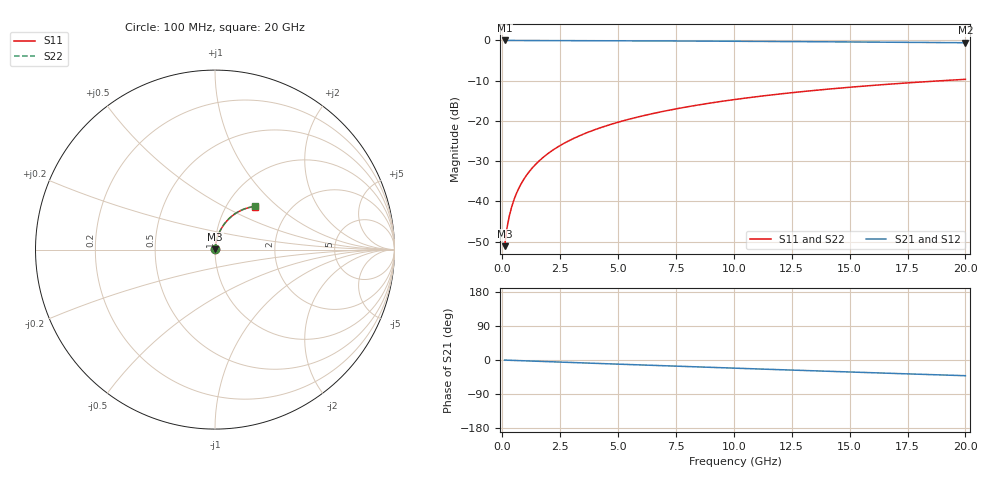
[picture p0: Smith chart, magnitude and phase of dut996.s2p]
! Touchstone file exported from HFSS 2026.1.0
!  File:  C:/ffzhzh/LocalFiles/Ansys_Project_Files/temp_train_BSMRDL_996_1783173009_55132.aedt
!  Generated:  09:51:26 PM Jul  4, 2026
!  Design:  BSMRDL
!  Project:  temp_train_BSMRDL_996_1783173009_55132
! Variables:
!  h_bsmrdl = 5.32um
!  h_ox = 20um
!  h_rdl = 5um
!  h_sub = 80um
!  h_tmrdl = 5um
!  h_tsv = 80um
!  h_via = 3um
!  l_bsmrdl = 631.03um
!  l_sub = 1031.03um
!  l_tmrdl = 200um
!  m_sub = 200um
!  pitch = 54.99um
!  r_tsv = 6um
!  s_tmrdl = 10um
!  w_bsmrdl = 28.67um
!  w_sub = 500um
!  w_tmrdl = 12um
!  x_tsv_center1 = 206um
!  x_tsv_center2 = 865.7um
!  x_tsv_center3 = 1077.7um
!  x_tsv_center4 = 1737.4um
!  x_tsv_center5 = 1949.4um
!  x_tsv_center6 = 2609.1um
# GHz S MA R 50.000000
! Terminal data exported
! Port[1] = BSM_RDL1_1_T1
! Port[2] = BSM_RDL1_1_T2
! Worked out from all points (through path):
!   200 points, 100 MHz to 20 GHz, reference 50 ohm
!   highest |S21| = -0.01 dB at 100 MHz (marker M1); lowest = -0.6 dB at 20 GHz (marker M2)
!   group delay of S21, straight-line fit = 5.75 ps
!   lowest |S11| = -51.1 dB at 100 MHz (marker M3), VSWR 1.01, Z = 50.2 + j0.22 ohm
!   |S11| at or under -10 dB: start of sweep to 19.02 GHz
!   |S22| runs from -51.1 to -9.7 dB; largest |S21 - S12| = 3.3e-15
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0.1  0.002775 52.4  0.9983 -0.2  0.9983 -0.2  0.002775 52.4
! Gamma 0 0 0 0
! Port Impedance 50 0 50 0
0.2  0.004625 66.1  0.9981 -0.5  0.9981 -0.5  0.004625 66.1
0.3  0.006516 72.0  0.998 -0.7  0.998 -0.7  0.006516 72.0
0.4  0.008432 75.4  0.998 -0.9  0.998 -0.9  0.008432 75.4
0.5  0.01037 77.5  0.9979 -1.1  0.9979 -1.1  0.01037 77.5
0.7  0.01428 79.8  0.9978 -1.6  0.9978 -1.6  0.01428 79.8
0.8  0.01625 80.5  0.9977 -1.8  0.9977 -1.8  0.01625 80.5
1  0.02019 81.3  0.9975 -2.2  0.9975 -2.2  0.02019 81.3
1.2  0.02413 81.7  0.9973 -2.7  0.9973 -2.7  0.02413 81.7
1.4  0.02806 81.8  0.9971 -3.1  0.9971 -3.1  0.02806 81.8
1.7  0.03394 81.7  0.9968 -3.8  0.9968 -3.8  0.03394 81.7
2  0.03978 81.4  0.9963 -4.4  0.9963 -4.4  0.03978 81.4
2.7  0.05327 80.4  0.9952 -6.0  0.9952 -6.0  0.05327 80.4
3.5  0.06843 79.0  0.9937 -7.7  0.9937 -7.7  0.06843 79.0
4.2  0.0815 77.6  0.9922 -9.2  0.9922 -9.2  0.08149 77.7
5  0.09622 76.1  0.9904 -10.9  0.9904 -10.9  0.09622 76.1
6.8  0.1286 72.6  0.9858 -14.8  0.9858 -14.8  0.1286 72.6
8.3  0.1549 69.6  0.9815 -17.9  0.9815 -17.9  0.1548 69.7
10.1  0.1853 66.1  0.9756 -21.7  0.9756 -21.7  0.1853 66.2
13.4  0.2379 59.6  0.9633 -28.5  0.9633 -28.5  0.2379 59.7
16.7  0.2857 53.2  0.9497 -35.0  0.9497 -35.0  0.2857 53.3
20  0.3284 46.9  0.9355 -41.4  0.9355 -41.4  0.3283 47.1
